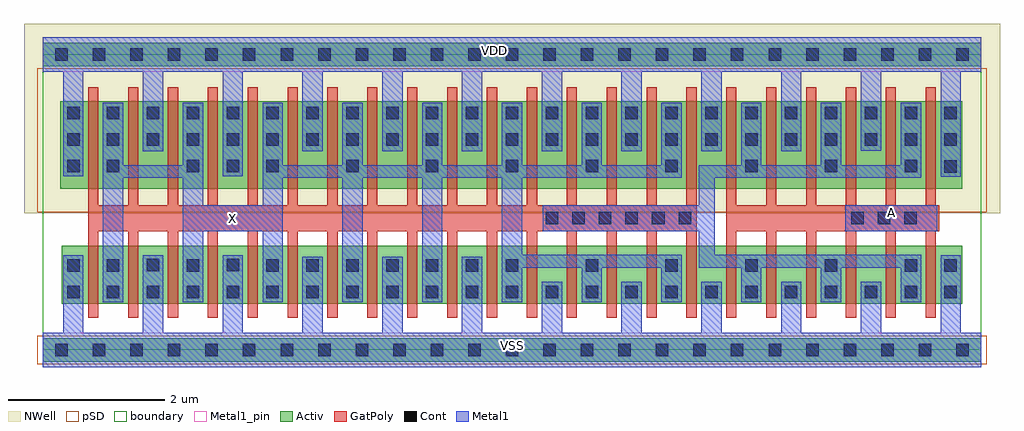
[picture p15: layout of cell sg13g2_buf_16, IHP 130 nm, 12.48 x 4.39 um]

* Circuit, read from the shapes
.subckt sg13g2_buf_16 A VDD VSS X
XM1 X n1 VSS VSS sg13_lv_nmos w=0.74u l=0.13u m=16
XM2 n1 A VSS VSS sg13_lv_nmos w=0.74u l=0.13u m=6
XM3 X n1 VDD VDD sg13_lv_pmos w=1.12u l=0.13u m=16
XM4 n1 A VDD VDD sg13_lv_pmos w=1.12u l=0.13u m=6
.ends

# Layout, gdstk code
import gdstk
lib = gdstk.Library(unit=1e-6, precision=1e-09)
def R(c, l, rs):  # rectangles x0, y0, x1, y1
    for r in rs: c.add(gdstk.rectangle(r[:2], r[2:], *l))
def P(c, l, *ps):  # polygons
    for p in ps: c.add(gdstk.Polygon(p, *l))
Activ = (1, 0)
GatPoly = (5, 0)
Cont = (6, 0)
Metal1 = (8, 0)
Metal1_pin = (8, 2)
pSD = (14, 0)
NWell = (31, 0)
boundary = (189, 4)

sg13g2_buf_16 = lib.new_cell('sg13g2_buf_16')
R(sg13g2_buf_16, Activ, [(0,-0.15,12,0.15), (0,-0.15,12,0.15), (0.24,0.59,11.76,1.33), (0.24,0.59,11.76,1.33), (0.225,2.06,11.76,3.18), (0.225,2.06,11.76,3.18), (0,3.63,12,3.93), (0,3.63,12,3.93)])
P(sg13g2_buf_16, GatPoly, [(8.74,0.41),(8.74,3.36),(8.87,3.36),(8.87,1.85),(9.25,1.85),(9.25,3.36),(9.38,3.36),(9.38,1.85),(9.76,1.85),(9.76,3.36),(9.89,3.36),(9.89,1.85),(10.27,1.85),(10.27,3.36),(10.4,3.36),(10.4,1.85),(10.78,1.85),(10.78,3.36),(10.91,3.36),(10.91,1.85),(11.29,1.85),(11.29,3.36),(11.42,3.36),(11.42,1.85),(11.46,1.85),(11.46,1.52),(11.42,1.52),(11.42,0.41),(11.29,0.41),(11.29,1.52),(10.91,1.52),(10.91,0.41),(10.78,0.41),(10.78,1.52),(10.4,1.52),(10.4,0.41),(10.27,0.41),(10.27,1.52),(9.89,1.52),(9.89,0.41),(9.76,0.41),(9.76,1.52),(9.38,1.52),(9.38,0.41),(9.25,0.41),(9.25,1.52),(8.87,1.52),(8.87,0.41)],
  [(0.58,0.41),(0.58,3.36),(0.71,3.36),(0.71,1.85),(1.09,1.85),(1.09,3.36),(1.22,3.36),(1.22,1.85),(1.6,1.85),(1.6,3.36),(1.73,3.36),(1.73,1.85),(2.11,1.85),(2.11,3.36),(2.24,3.36),(2.24,1.85),(2.62,1.85),(2.62,3.36),(2.75,3.36),(2.75,1.85),(3.13,1.85),(3.13,3.36),(3.26,3.36),(3.26,1.85),(3.64,1.85),(3.64,3.36),(3.77,3.36),(3.77,1.85),(4.15,1.85),(4.15,3.36),(4.28,3.36),(4.28,1.85),(4.66,1.85),(4.66,3.36),(4.79,3.36),(4.79,1.85),(5.17,1.85),(5.17,3.36),(5.3,3.36),(5.3,1.85),(5.68,1.85),(5.68,3.36),(5.81,3.36),(5.81,1.85),(6.19,1.85),(6.19,3.36),(6.32,3.36),(6.32,1.85),(6.7,1.85),(6.7,3.36),(6.83,3.36),(6.83,1.85),(7.21,1.85),(7.21,3.36),(7.34,3.36),(7.34,1.85),(7.72,1.85),(7.72,3.36),(7.85,3.36),(7.85,1.85),(8.23,1.85),(8.23,3.36),(8.36,3.36),(8.36,0.41),(8.23,0.41),(8.23,1.52),(7.85,1.52),(7.85,0.41),(7.72,0.41),(7.72,1.52),(7.34,1.52),(7.34,0.41),(7.21,0.41),(7.21,1.52),(6.83,1.52),(6.83,0.41),(6.7,0.41),(6.7,1.52),(6.32,1.52),(6.32,0.41),(6.19,0.41),(6.19,1.52),(5.81,1.52),(5.81,0.41),(5.68,0.41),(5.68,1.52),(5.3,1.52),(5.3,0.41),(5.17,0.41),(5.17,1.52),(4.79,1.52),(4.79,0.41),(4.66,0.41),(4.66,1.52),(4.28,1.52),(4.28,0.41),(4.15,0.41),(4.15,1.52),(3.77,1.52),(3.77,0.41),(3.64,0.41),(3.64,1.52),(3.26,1.52),(3.26,0.41),(3.13,0.41),(3.13,1.52),(2.75,1.52),(2.75,0.41),(2.62,0.41),(2.62,1.52),(2.24,1.52),(2.24,0.41),(2.11,0.41),(2.11,1.52),(1.73,1.52),(1.73,0.41),(1.6,0.41),(1.6,1.52),(1.22,1.52),(1.22,0.41),(1.09,0.41),(1.09,1.52),(0.71,1.52),(0.71,0.41)],
  [(8.74,0.41),(8.74,3.36),(8.87,3.36),(8.87,1.85),(9.25,1.85),(9.25,3.36),(9.38,3.36),(9.38,1.85),(9.76,1.85),(9.76,3.36),(9.89,3.36),(9.89,1.85),(10.27,1.85),(10.27,3.36),(10.4,3.36),(10.4,1.85),(10.78,1.85),(10.78,3.36),(10.91,3.36),(10.91,1.85),(11.29,1.85),(11.29,3.36),(11.42,3.36),(11.42,1.85),(11.46,1.85),(11.46,1.52),(11.42,1.52),(11.42,0.41),(11.29,0.41),(11.29,1.52),(10.91,1.52),(10.91,0.41),(10.78,0.41),(10.78,1.52),(10.4,1.52),(10.4,0.41),(10.27,0.41),(10.27,1.52),(9.89,1.52),(9.89,0.41),(9.76,0.41),(9.76,1.52),(9.38,1.52),(9.38,0.41),(9.25,0.41),(9.25,1.52),(8.87,1.52),(8.87,0.41)],
  [(0.58,0.41),(0.58,3.36),(0.71,3.36),(0.71,1.85),(1.09,1.85),(1.09,3.36),(1.22,3.36),(1.22,1.85),(1.6,1.85),(1.6,3.36),(1.73,3.36),(1.73,1.85),(2.11,1.85),(2.11,3.36),(2.24,3.36),(2.24,1.85),(2.62,1.85),(2.62,3.36),(2.75,3.36),(2.75,1.85),(3.13,1.85),(3.13,3.36),(3.26,3.36),(3.26,1.85),(3.64,1.85),(3.64,3.36),(3.77,3.36),(3.77,1.85),(4.15,1.85),(4.15,3.36),(4.28,3.36),(4.28,1.85),(4.66,1.85),(4.66,3.36),(4.79,3.36),(4.79,1.85),(5.17,1.85),(5.17,3.36),(5.3,3.36),(5.3,1.85),(5.68,1.85),(5.68,3.36),(5.81,3.36),(5.81,1.85),(6.19,1.85),(6.19,3.36),(6.32,3.36),(6.32,1.85),(6.7,1.85),(6.7,3.36),(6.83,3.36),(6.83,1.85),(7.21,1.85),(7.21,3.36),(7.34,3.36),(7.34,1.85),(7.72,1.85),(7.72,3.36),(7.85,3.36),(7.85,1.85),(8.23,1.85),(8.23,3.36),(8.36,3.36),(8.36,0.41),(8.23,0.41),(8.23,1.52),(7.85,1.52),(7.85,0.41),(7.72,0.41),(7.72,1.52),(7.34,1.52),(7.34,0.41),(7.21,0.41),(7.21,1.52),(6.83,1.52),(6.83,0.41),(6.7,0.41),(6.7,1.52),(6.32,1.52),(6.32,0.41),(6.19,0.41),(6.19,1.52),(5.81,1.52),(5.81,0.41),(5.68,0.41),(5.68,1.52),(5.3,1.52),(5.3,0.41),(5.17,0.41),(5.17,1.52),(4.79,1.52),(4.79,0.41),(4.66,0.41),(4.66,1.52),(4.28,1.52),(4.28,0.41),(4.15,0.41),(4.15,1.52),(3.77,1.52),(3.77,0.41),(3.64,0.41),(3.64,1.52),(3.26,1.52),(3.26,0.41),(3.13,0.41),(3.13,1.52),(2.75,1.52),(2.75,0.41),(2.62,0.41),(2.62,1.52),(2.24,1.52),(2.24,0.41),(2.11,0.41),(2.11,1.52),(1.73,1.52),(1.73,0.41),(1.6,0.41),(1.6,1.52),(1.22,1.52),(1.22,0.41),(1.09,0.41),(1.09,1.52),(0.71,1.52),(0.71,0.41)])
R(sg13g2_buf_16, Cont, [(0.16,-0.08,0.32,0.08), (0.16,-0.08,0.32,0.08), (0.16,-0.08,0.32,0.08), (0.16,-0.08,0.32,0.08), (0.64,-0.08,0.8,0.08), (0.64,-0.08,0.8,0.08), (0.64,-0.08,0.8,0.08), (0.64,-0.08,0.8,0.08), (1.12,-0.08,1.28,0.08), (1.12,-0.08,1.28,0.08), (1.12,-0.08,1.28,0.08), (1.12,-0.08,1.28,0.08), (1.6,-0.08,1.76,0.08), (1.6,-0.08,1.76,0.08), (1.6,-0.08,1.76,0.08), (1.6,-0.08,1.76,0.08), (2.08,-0.08,2.24,0.08), (2.08,-0.08,2.24,0.08), (2.08,-0.08,2.24,0.08), (2.08,-0.08,2.24,0.08), (2.56,-0.08,2.72,0.08), (2.56,-0.08,2.72,0.08), (2.56,-0.08,2.72,0.08), (2.56,-0.08,2.72,0.08), (3.04,-0.08,3.2,0.08), (3.04,-0.08,3.2,0.08), (3.04,-0.08,3.2,0.08), (3.04,-0.08,3.2,0.08), (3.52,-0.08,3.68,0.08), (3.52,-0.08,3.68,0.08), (3.52,-0.08,3.68,0.08), (3.52,-0.08,3.68,0.08), (4,-0.08,4.16,0.08), (4,-0.08,4.16,0.08), (4,-0.08,4.16,0.08), (4,-0.08,4.16,0.08), (4.48,-0.08,4.64,0.08), (4.48,-0.08,4.64,0.08), (4.48,-0.08,4.64,0.08), (4.48,-0.08,4.64,0.08), (4.96,-0.08,5.12,0.08), (4.96,-0.08,5.12,0.08), (4.96,-0.08,5.12,0.08), (4.96,-0.08,5.12,0.08), (5.44,-0.08,5.6,0.08), (5.44,-0.08,5.6,0.08), (5.44,-0.08,5.6,0.08), (5.44,-0.08,5.6,0.08), (5.92,-0.08,6.08,0.08), (5.92,-0.08,6.08,0.08), (5.92,-0.08,6.08,0.08), (5.92,-0.08,6.08,0.08), (6.4,-0.08,6.56,0.08), (6.4,-0.08,6.56,0.08), (6.4,-0.08,6.56,0.08), (6.4,-0.08,6.56,0.08), (6.88,-0.08,7.04,0.08), (6.88,-0.08,7.04,0.08), (6.88,-0.08,7.04,0.08), (6.88,-0.08,7.04,0.08), (7.36,-0.08,7.52,0.08), (7.36,-0.08,7.52,0.08), (7.36,-0.08,7.52,0.08), (7.36,-0.08,7.52,0.08), (7.84,-0.08,8,0.08), (7.84,-0.08,8,0.08), (7.84,-0.08,8,0.08), (7.84,-0.08,8,0.08), (8.32,-0.08,8.48,0.08), (8.32,-0.08,8.48,0.08), (8.32,-0.08,8.48,0.08), (8.32,-0.08,8.48,0.08), (8.8,-0.08,8.96,0.08), (8.8,-0.08,8.96,0.08), (8.8,-0.08,8.96,0.08), (8.8,-0.08,8.96,0.08), (9.28,-0.08,9.44,0.08), (9.28,-0.08,9.44,0.08), (9.28,-0.08,9.44,0.08), (9.28,-0.08,9.44,0.08), (9.76,-0.08,9.92,0.08), (9.76,-0.08,9.92,0.08), (9.76,-0.08,9.92,0.08), (9.76,-0.08,9.92,0.08), (10.24,-0.08,10.4,0.08), (10.24,-0.08,10.4,0.08), (10.24,-0.08,10.4,0.08), (10.24,-0.08,10.4,0.08), (10.72,-0.08,10.88,0.08), (10.72,-0.08,10.88,0.08), (10.72,-0.08,10.88,0.08), (10.72,-0.08,10.88,0.08), (11.2,-0.08,11.36,0.08), (11.2,-0.08,11.36,0.08), (11.2,-0.08,11.36,0.08), (11.2,-0.08,11.36,0.08), (11.68,-0.08,11.84,0.08), (11.68,-0.08,11.84,0.08), (11.68,-0.08,11.84,0.08), (11.68,-0.08,11.84,0.08), (0.31,0.66,0.47,0.82), (0.31,0.66,0.47,0.82), (0.82,0.66,0.98,0.82), (0.82,0.66,0.98,0.82), (1.33,0.66,1.49,0.82), (1.33,0.66,1.49,0.82), (1.84,0.66,2,0.82), (1.84,0.66,2,0.82), (2.35,0.66,2.51,0.82), (2.35,0.66,2.51,0.82), (2.86,0.66,3.02,0.82), (2.86,0.66,3.02,0.82), (3.37,0.66,3.53,0.82), (3.37,0.66,3.53,0.82), (3.88,0.66,4.04,0.82), (3.88,0.66,4.04,0.82), (4.39,0.66,4.55,0.82), (4.39,0.66,4.55,0.82), (4.9,0.66,5.06,0.82), (4.9,0.66,5.06,0.82), (5.41,0.66,5.57,0.82), (5.41,0.66,5.57,0.82), (5.92,0.66,6.08,0.82), (5.92,0.66,6.08,0.82), (6.43,0.66,6.59,0.82), (6.43,0.66,6.59,0.82), (6.94,0.66,7.1,0.82), (6.94,0.66,7.1,0.82), (7.45,0.66,7.61,0.82), (7.45,0.66,7.61,0.82), (7.96,0.66,8.12,0.82), (7.96,0.66,8.12,0.82), (8.47,0.66,8.63,0.82), (8.47,0.66,8.63,0.82), (8.98,0.66,9.14,0.82), (8.98,0.66,9.14,0.82), (9.49,0.66,9.65,0.82), (9.49,0.66,9.65,0.82), (10,0.66,10.16,0.82), (10,0.66,10.16,0.82), (10.51,0.66,10.67,0.82), (10.51,0.66,10.67,0.82), (11.02,0.66,11.18,0.82), (11.02,0.66,11.18,0.82), (11.53,0.66,11.69,0.82), (11.53,0.66,11.69,0.82), (0.31,1,0.47,1.16), (0.31,1,0.47,1.16), (0.82,1,0.98,1.16), (0.82,1,0.98,1.16), (1.84,1,2,1.16), (1.84,1,2,1.16), (2.86,1,3.02,1.16), (2.86,1,3.02,1.16), (3.37,1,3.53,1.16), (3.37,1,3.53,1.16), (3.88,1,4.04,1.16), (3.88,1,4.04,1.16), (4.39,1,4.55,1.16), (4.39,1,4.55,1.16), (4.9,1,5.06,1.16), (4.9,1,5.06,1.16), (5.41,1,5.57,1.16), (5.41,1,5.57,1.16), (5.92,1,6.08,1.16), (5.92,1,6.08,1.16), (6.94,1,7.1,1.16), (6.94,1,7.1,1.16), (7.96,1,8.12,1.16), (7.96,1,8.12,1.16), (8.98,1,9.14,1.16), (8.98,1,9.14,1.16), (10,1,10.16,1.16), (10,1,10.16,1.16), (11.02,1,11.18,1.16), (11.02,1,11.18,1.16), (11.53,1,11.69,1.16), (11.53,1,11.69,1.16), (1.33,1.005,1.49,1.165), (1.33,1.005,1.49,1.165), (2.35,1.005,2.51,1.165), (2.35,1.005,2.51,1.165), (6.43,1.605,6.59,1.765), (6.43,1.605,6.59,1.765), (6.77,1.605,6.93,1.765), (6.77,1.605,6.93,1.765), (7.11,1.605,7.27,1.765), (7.11,1.605,7.27,1.765), (7.45,1.605,7.61,1.765), (7.45,1.605,7.61,1.765), (7.79,1.605,7.95,1.765), (7.79,1.605,7.95,1.765), (8.13,1.605,8.29,1.765), (8.13,1.605,8.29,1.765), (10.335,1.605,10.495,1.765), (10.335,1.605,10.495,1.765), (10.675,1.605,10.835,1.765), (10.675,1.605,10.835,1.765), (11.015,1.605,11.175,1.765), (11.015,1.605,11.175,1.765), (11.53,2.265,11.69,2.425), (11.53,2.265,11.69,2.425), (0.31,2.27,0.47,2.43), (0.31,2.27,0.47,2.43), (0.82,2.27,0.98,2.43), (0.82,2.27,0.98,2.43), (1.84,2.27,2,2.43), (1.84,2.27,2,2.43), (2.35,2.27,2.51,2.43), (2.35,2.27,2.51,2.43), (2.86,2.27,3.02,2.43), (2.86,2.27,3.02,2.43), (3.88,2.27,4.04,2.43), (3.88,2.27,4.04,2.43), (4.9,2.27,5.06,2.43), (4.9,2.27,5.06,2.43), (5.92,2.27,6.08,2.43), (5.92,2.27,6.08,2.43), (6.94,2.27,7.1,2.43), (6.94,2.27,7.1,2.43), (7.96,2.27,8.12,2.43), (7.96,2.27,8.12,2.43), (8.98,2.27,9.14,2.43), (8.98,2.27,9.14,2.43), (10,2.27,10.16,2.43), (10,2.27,10.16,2.43), (11.02,2.27,11.18,2.43), (11.02,2.27,11.18,2.43), (0.31,2.61,0.47,2.77), (0.31,2.61,0.47,2.77), (0.82,2.61,0.98,2.77), (0.82,2.61,0.98,2.77), (1.33,2.61,1.49,2.77), (1.33,2.61,1.49,2.77), (1.84,2.61,2,2.77), (1.84,2.61,2,2.77), (2.35,2.61,2.51,2.77), (2.35,2.61,2.51,2.77), (2.86,2.61,3.02,2.77), (2.86,2.61,3.02,2.77), (3.37,2.61,3.53,2.77), (3.37,2.61,3.53,2.77), (3.88,2.61,4.04,2.77), (3.88,2.61,4.04,2.77), (4.39,2.61,4.55,2.77), (4.39,2.61,4.55,2.77), (4.9,2.61,5.06,2.77), (4.9,2.61,5.06,2.77), (5.41,2.61,5.57,2.77), (5.41,2.61,5.57,2.77), (5.92,2.61,6.08,2.77), (5.92,2.61,6.08,2.77), (6.43,2.61,6.59,2.77), (6.43,2.61,6.59,2.77), (6.94,2.61,7.1,2.77), (6.94,2.61,7.1,2.77), (7.45,2.61,7.61,2.77), (7.45,2.61,7.61,2.77), (7.96,2.61,8.12,2.77), (7.96,2.61,8.12,2.77), (8.47,2.61,8.63,2.77), (8.47,2.61,8.63,2.77), (8.98,2.61,9.14,2.77), (8.98,2.61,9.14,2.77), (9.49,2.61,9.65,2.77), (9.49,2.61,9.65,2.77), (10,2.61,10.16,2.77), (10,2.61,10.16,2.77), (10.51,2.61,10.67,2.77), (10.51,2.61,10.67,2.77), (11.02,2.61,11.18,2.77), (11.02,2.61,11.18,2.77), (11.53,2.61,11.69,2.77), (11.53,2.61,11.69,2.77), (0.31,2.95,0.47,3.11), (0.31,2.95,0.47,3.11), (0.82,2.95,0.98,3.11), (0.82,2.95,0.98,3.11), (1.33,2.95,1.49,3.11), (1.33,2.95,1.49,3.11), (1.84,2.95,2,3.11), (1.84,2.95,2,3.11), (2.35,2.95,2.51,3.11), (2.35,2.95,2.51,3.11), (2.86,2.95,3.02,3.11), (2.86,2.95,3.02,3.11), (3.37,2.95,3.53,3.11), (3.37,2.95,3.53,3.11), (3.88,2.95,4.04,3.11), (3.88,2.95,4.04,3.11), (4.39,2.95,4.55,3.11), (4.39,2.95,4.55,3.11), (4.9,2.95,5.06,3.11), (4.9,2.95,5.06,3.11), (5.41,2.95,5.57,3.11), (5.41,2.95,5.57,3.11), (5.92,2.95,6.08,3.11), (5.92,2.95,6.08,3.11), (6.43,2.95,6.59,3.11), (6.43,2.95,6.59,3.11), (6.94,2.95,7.1,3.11), (6.94,2.95,7.1,3.11), (7.45,2.95,7.61,3.11), (7.45,2.95,7.61,3.11), (7.96,2.95,8.12,3.11), (7.96,2.95,8.12,3.11), (8.47,2.95,8.63,3.11), (8.47,2.95,8.63,3.11), (8.98,2.95,9.14,3.11), (8.98,2.95,9.14,3.11), (9.49,2.95,9.65,3.11), (9.49,2.95,9.65,3.11), (10,2.95,10.16,3.11), (10,2.95,10.16,3.11), (10.51,2.95,10.67,3.11), (10.51,2.95,10.67,3.11), (11.02,2.95,11.18,3.11), (11.02,2.95,11.18,3.11), (11.53,2.95,11.69,3.11), (11.53,2.95,11.69,3.11), (0.16,3.7,0.32,3.86), (0.16,3.7,0.32,3.86), (0.16,3.7,0.32,3.86), (0.16,3.7,0.32,3.86), (0.64,3.7,0.8,3.86), (0.64,3.7,0.8,3.86), (0.64,3.7,0.8,3.86), (0.64,3.7,0.8,3.86), (1.12,3.7,1.28,3.86), (1.12,3.7,1.28,3.86), (1.12,3.7,1.28,3.86), (1.12,3.7,1.28,3.86), (1.6,3.7,1.76,3.86), (1.6,3.7,1.76,3.86), (1.6,3.7,1.76,3.86), (1.6,3.7,1.76,3.86), (2.08,3.7,2.24,3.86), (2.08,3.7,2.24,3.86), (2.08,3.7,2.24,3.86), (2.08,3.7,2.24,3.86), (2.56,3.7,2.72,3.86), (2.56,3.7,2.72,3.86), (2.56,3.7,2.72,3.86), (2.56,3.7,2.72,3.86), (3.04,3.7,3.2,3.86), (3.04,3.7,3.2,3.86), (3.04,3.7,3.2,3.86), (3.04,3.7,3.2,3.86), (3.52,3.7,3.68,3.86), (3.52,3.7,3.68,3.86), (3.52,3.7,3.68,3.86), (3.52,3.7,3.68,3.86), (4,3.7,4.16,3.86), (4,3.7,4.16,3.86), (4,3.7,4.16,3.86), (4,3.7,4.16,3.86), (4.48,3.7,4.64,3.86), (4.48,3.7,4.64,3.86), (4.48,3.7,4.64,3.86), (4.48,3.7,4.64,3.86), (4.96,3.7,5.12,3.86), (4.96,3.7,5.12,3.86), (4.96,3.7,5.12,3.86), (4.96,3.7,5.12,3.86), (5.44,3.7,5.6,3.86), (5.44,3.7,5.6,3.86), (5.44,3.7,5.6,3.86), (5.44,3.7,5.6,3.86), (5.92,3.7,6.08,3.86), (5.92,3.7,6.08,3.86), (5.92,3.7,6.08,3.86), (5.92,3.7,6.08,3.86), (6.4,3.7,6.56,3.86), (6.4,3.7,6.56,3.86), (6.4,3.7,6.56,3.86), (6.4,3.7,6.56,3.86), (6.88,3.7,7.04,3.86), (6.88,3.7,7.04,3.86), (6.88,3.7,7.04,3.86), (6.88,3.7,7.04,3.86), (7.36,3.7,7.52,3.86), (7.36,3.7,7.52,3.86), (7.36,3.7,7.52,3.86), (7.36,3.7,7.52,3.86), (7.84,3.7,8,3.86), (7.84,3.7,8,3.86), (7.84,3.7,8,3.86), (7.84,3.7,8,3.86), (8.32,3.7,8.48,3.86), (8.32,3.7,8.48,3.86), (8.32,3.7,8.48,3.86), (8.32,3.7,8.48,3.86), (8.8,3.7,8.96,3.86), (8.8,3.7,8.96,3.86), (8.8,3.7,8.96,3.86), (8.8,3.7,8.96,3.86), (9.28,3.7,9.44,3.86), (9.28,3.7,9.44,3.86), (9.28,3.7,9.44,3.86), (9.28,3.7,9.44,3.86), (9.76,3.7,9.92,3.86), (9.76,3.7,9.92,3.86), (9.76,3.7,9.92,3.86), (9.76,3.7,9.92,3.86), (10.24,3.7,10.4,3.86), (10.24,3.7,10.4,3.86), (10.24,3.7,10.4,3.86), (10.24,3.7,10.4,3.86), (10.72,3.7,10.88,3.86), (10.72,3.7,10.88,3.86), (10.72,3.7,10.88,3.86), (10.72,3.7,10.88,3.86), (11.2,3.7,11.36,3.86), (11.2,3.7,11.36,3.86), (11.2,3.7,11.36,3.86), (11.2,3.7,11.36,3.86), (11.68,3.7,11.84,3.86), (11.68,3.7,11.84,3.86), (11.68,3.7,11.84,3.86), (11.68,3.7,11.84,3.86)])
R(sg13g2_buf_16, Metal1, [(10.26,1.52,11.44,1.85), (10.26,1.52,11.44,1.85)])
P(sg13g2_buf_16, Metal1, [(0,-0.22),(0,0.22),(0.26,0.22),(0.26,1.21),(0.52,1.21),(0.52,0.22),(1.28,0.22),(1.28,1.21),(1.54,1.21),(1.54,0.22),(2.3,0.22),(2.3,1.21),(2.56,1.21),(2.56,0.22),(3.32,0.22),(3.32,1.195),(3.58,1.195),(3.58,0.22),(4.34,0.22),(4.34,1.195),(4.6,1.195),(4.6,0.22),(5.36,0.22),(5.36,1.195),(5.62,1.195),(5.62,0.22),(6.38,0.22),(6.38,0.87),(6.64,0.87),(6.64,0.22),(7.4,0.22),(7.4,0.87),(7.66,0.87),(7.66,0.22),(8.42,0.22),(8.42,0.87),(8.685,0.87),(8.685,0.22),(9.44,0.22),(9.44,0.87),(9.7,0.87),(9.7,0.22),(10.46,0.22),(10.46,0.87),(10.72,0.87),(10.72,0.22),(11.48,0.22),(11.48,1.21),(11.74,1.21),(11.74,0.22),(12,0.22),(12,-0.22)],
  [(11.48,2.215),(11.48,3.56),(10.72,3.56),(10.72,2.545),(10.46,2.545),(10.46,3.56),(9.7,3.56),(9.7,2.54),(9.44,2.54),(9.44,3.56),(8.68,3.56),(8.68,2.54),(8.42,2.54),(8.42,3.56),(7.66,3.56),(7.66,2.54),(7.4,2.54),(7.4,3.56),(6.64,3.56),(6.64,2.54),(6.38,2.54),(6.38,3.56),(5.62,3.56),(5.62,2.54),(5.36,2.54),(5.36,3.56),(4.6,3.56),(4.6,2.54),(4.34,2.54),(4.34,3.56),(3.58,3.56),(3.58,2.54),(3.32,2.54),(3.32,3.56),(2.56,3.56),(2.56,2.22),(2.3,2.22),(2.3,3.56),(1.54,3.56),(1.54,2.54),(1.28,2.54),(1.28,3.56),(0.52,3.56),(0.52,2.22),(0.26,2.22),(0.26,3.56),(0,3.56),(0,4),(12,4),(12,3.56),(11.74,3.56),(11.74,2.215)],
  [(8.93,0.61),(8.93,1.05),(8.385,1.05),(8.385,1.52),(6.395,1.52),(6.395,1.85),(8.385,1.85),(8.385,2.36),(8.93,2.36),(8.93,3.16),(9.19,3.16),(9.19,2.36),(9.95,2.36),(9.95,3.16),(10.21,3.16),(10.21,2.36),(10.97,2.36),(10.97,3.16),(11.23,3.16),(11.23,2.2),(8.595,2.2),(8.595,1.22),(11.23,1.22),(11.23,0.61),(10.97,0.61),(10.97,1.05),(10.21,1.05),(10.21,0.61),(9.95,0.61),(9.95,1.05),(9.19,1.05),(9.19,0.61)],
  [(0.77,0.61),(0.77,3.16),(1.03,3.16),(1.03,2.36),(1.79,2.36),(1.79,3.16),(2.05,3.16),(2.05,1.85),(2.81,1.85),(2.81,3.16),(3.07,3.16),(3.07,2.36),(3.83,2.36),(3.83,3.16),(4.09,3.16),(4.09,2.36),(4.85,2.36),(4.85,3.16),(5.11,3.16),(5.11,2.36),(5.87,2.36),(5.87,3.16),(6.13,3.16),(6.13,2.36),(6.89,2.36),(6.89,3.16),(7.15,3.16),(7.15,2.36),(7.91,2.36),(7.91,3.16),(8.17,3.16),(8.17,2.2),(6.13,2.2),(6.13,1.22),(8.17,1.22),(8.17,0.61),(7.91,0.61),(7.91,1.05),(7.15,1.05),(7.15,0.61),(6.89,0.61),(6.89,1.05),(6.13,1.05),(6.13,0.61),(5.87,0.61),(5.87,2.2),(5.11,2.2),(5.11,0.61),(4.85,0.61),(4.85,2.2),(4.09,2.2),(4.09,0.61),(3.83,0.61),(3.83,2.2),(3.07,2.2),(3.07,0.61),(2.81,0.61),(2.81,1.52),(2.05,1.52),(2.05,0.61),(1.79,0.61),(1.79,2.2),(1.03,2.2),(1.03,0.61)],
  [(0,-0.22),(0,0.22),(0.26,0.22),(0.26,1.21),(0.52,1.21),(0.52,0.22),(1.28,0.22),(1.28,1.21),(1.54,1.21),(1.54,0.22),(2.3,0.22),(2.3,1.21),(2.56,1.21),(2.56,0.22),(3.32,0.22),(3.32,1.195),(3.58,1.195),(3.58,0.22),(4.34,0.22),(4.34,1.195),(4.6,1.195),(4.6,0.22),(5.36,0.22),(5.36,1.195),(5.62,1.195),(5.62,0.22),(6.38,0.22),(6.38,0.87),(6.64,0.87),(6.64,0.22),(7.4,0.22),(7.4,0.87),(7.66,0.87),(7.66,0.22),(8.42,0.22),(8.42,0.87),(8.685,0.87),(8.685,0.22),(9.44,0.22),(9.44,0.87),(9.7,0.87),(9.7,0.22),(10.46,0.22),(10.46,0.87),(10.72,0.87),(10.72,0.22),(11.48,0.22),(11.48,1.21),(11.74,1.21),(11.74,0.22),(12,0.22),(12,-0.22)],
  [(11.48,2.215),(11.48,3.56),(10.72,3.56),(10.72,2.545),(10.46,2.545),(10.46,3.56),(9.7,3.56),(9.7,2.54),(9.44,2.54),(9.44,3.56),(8.68,3.56),(8.68,2.54),(8.42,2.54),(8.42,3.56),(7.66,3.56),(7.66,2.54),(7.4,2.54),(7.4,3.56),(6.64,3.56),(6.64,2.54),(6.38,2.54),(6.38,3.56),(5.62,3.56),(5.62,2.54),(5.36,2.54),(5.36,3.56),(4.6,3.56),(4.6,2.54),(4.34,2.54),(4.34,3.56),(3.58,3.56),(3.58,2.54),(3.32,2.54),(3.32,3.56),(2.56,3.56),(2.56,2.22),(2.3,2.22),(2.3,3.56),(1.54,3.56),(1.54,2.54),(1.28,2.54),(1.28,3.56),(0.52,3.56),(0.52,2.22),(0.26,2.22),(0.26,3.56),(0,3.56),(0,4),(12,4),(12,3.56),(11.74,3.56),(11.74,2.215)],
  [(8.93,0.61),(8.93,1.05),(8.385,1.05),(8.385,1.52),(6.395,1.52),(6.395,1.85),(8.385,1.85),(8.385,2.36),(8.93,2.36),(8.93,3.16),(9.19,3.16),(9.19,2.36),(9.95,2.36),(9.95,3.16),(10.21,3.16),(10.21,2.36),(10.97,2.36),(10.97,3.16),(11.23,3.16),(11.23,2.2),(8.595,2.2),(8.595,1.22),(11.23,1.22),(11.23,0.61),(10.97,0.61),(10.97,1.05),(10.21,1.05),(10.21,0.61),(9.95,0.61),(9.95,1.05),(9.19,1.05),(9.19,0.61)],
  [(0.77,0.61),(0.77,3.16),(1.03,3.16),(1.03,2.36),(1.79,2.36),(1.79,3.16),(2.05,3.16),(2.05,1.85),(2.81,1.85),(2.81,3.16),(3.07,3.16),(3.07,2.36),(3.83,2.36),(3.83,3.16),(4.09,3.16),(4.09,2.36),(4.85,2.36),(4.85,3.16),(5.11,3.16),(5.11,2.36),(5.87,2.36),(5.87,3.16),(6.13,3.16),(6.13,2.36),(6.89,2.36),(6.89,3.16),(7.15,3.16),(7.15,2.36),(7.91,2.36),(7.91,3.16),(8.17,3.16),(8.17,2.2),(6.13,2.2),(6.13,1.22),(8.17,1.22),(8.17,0.61),(7.91,0.61),(7.91,1.05),(7.15,1.05),(7.15,0.61),(6.89,0.61),(6.89,1.05),(6.13,1.05),(6.13,0.61),(5.87,0.61),(5.87,2.2),(5.11,2.2),(5.11,0.61),(4.85,0.61),(4.85,2.2),(4.09,2.2),(4.09,0.61),(3.83,0.61),(3.83,2.2),(3.07,2.2),(3.07,0.61),(2.81,0.61),(2.81,1.52),(2.05,1.52),(2.05,0.61),(1.79,0.61),(1.79,2.2),(1.03,2.2),(1.03,0.61)])
R(sg13g2_buf_16, Metal1_pin, [(0,-0.22,12,0.22), (0,-0.22,12,0.22), (1.79,1.52,3.07,1.85), (1.79,1.52,3.07,1.85), (10.26,1.52,11.44,1.85), (10.26,1.52,11.44,1.85), (0,3.56,12,4), (0,3.56,12,4)])
R(sg13g2_buf_16, pSD, [(-0.07,-0.18,12.07,0.18), (-0.07,-0.18,12.07,0.18), (-0.07,1.76,12.07,3.6), (-0.07,1.76,12.07,3.6)])
R(sg13g2_buf_16, NWell, [(-0.24,1.75,12.24,4.17), (-0.24,1.75,12.24,4.17)])
R(sg13g2_buf_16, boundary, [(0,0,12,3.78), (0,0,12,3.78)])
sg13g2_buf_16.add(gdstk.Label('VDD', (5.78,3.835), layer=8, texttype=25))
sg13g2_buf_16.add(gdstk.Label('VSS', (6.01,0.055), layer=8, texttype=25))
sg13g2_buf_16.add(gdstk.Label('A', (10.855,1.755), layer=8, texttype=25))
sg13g2_buf_16.add(gdstk.Label('X', (2.42,1.68), layer=8, texttype=25))
sg13g2_buf_16.add(gdstk.Label('VDD', (5.78,3.835), layer=8, texttype=25))
sg13g2_buf_16.add(gdstk.Label('VSS', (6.01,0.055), layer=8, texttype=25))
sg13g2_buf_16.add(gdstk.Label('A', (10.855,1.755), layer=8, texttype=25))
sg13g2_buf_16.add(gdstk.Label('X', (2.42,1.68), layer=8, texttype=25))

lib.write_gds('sg13g2_buf_16.gds')
